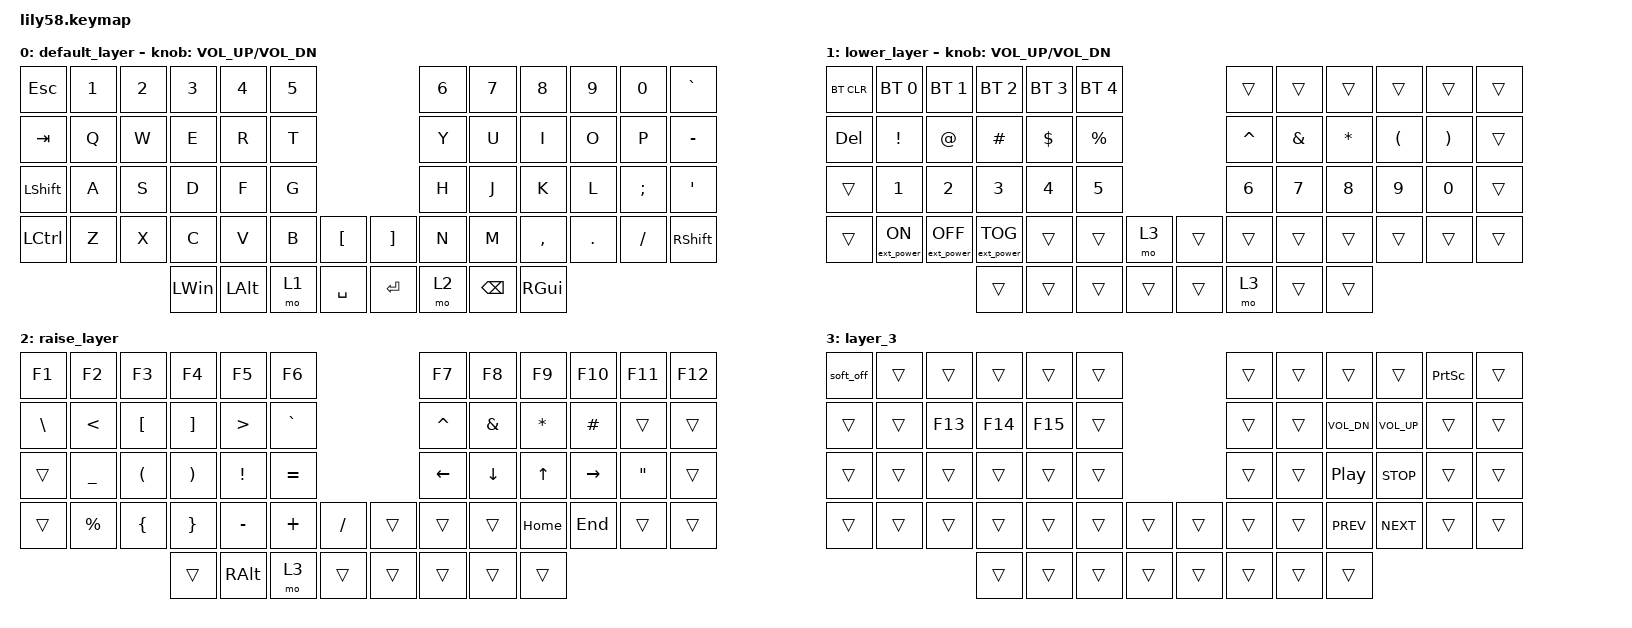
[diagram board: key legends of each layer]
/*
 * Copyright (c) 2020 The ZMK Contributors
 *
 * SPDX-License-Identifier: MIT
 */

#include <behaviors.dtsi>
#include <dt-bindings/zmk/bt.h>
#include <dt-bindings/zmk/ext_power.h>
#include <dt-bindings/zmk/keys.h>

/ {
    keymap {
        compatible = "zmk,keymap";

        default_layer {
            // ------------------------------------------------------------------------------------------------------------
            // |  ESC  |  1  |  2  |  3   |  4   |  5   |                   |  6   |  7    |  8    |  9   |   0   |   `   |
            // |  TAB  |  Q  |  W  |  E   |  R   |  T   |                   |  Y   |  U    |  I    |  O   |   P   |   -   |
            // |  CTRL |  A  |  S  |  D   |  F   |  G   |                   |  H   |  J    |  K    |  L   |   ;   |   '   |
            // | SHIFT |  Z  |  X  |  C   |  V   |  B   |   "["  |  |  "]"  |  N   |  M    |  ,    |  .   |   /   | SHIFT |
            //                     | ALT  | GUI  | LOWER|  SPACE |  | ENTER | RAISE| BSPC  | GUI   |

            bindings = <
&kp ESC     &kp N1  &kp N2  &kp N3    &kp N4    &kp N5                         &kp N6  &kp N7    &kp N8     &kp N9   &kp N0    &kp GRAVE
&kp TAB     &kp Q   &kp W   &kp E     &kp R     &kp T                          &kp Y   &kp U     &kp I      &kp O    &kp P     &kp MINUS
&kp LSHIFT  &kp A   &kp S   &kp D     &kp F     &kp G                          &kp H   &kp J     &kp K      &kp L    &kp SEMI  &kp SQT
&kp LCTRL   &kp Z   &kp X   &kp C     &kp V     &kp B   &kp LBKT     &kp RBKT  &kp N   &kp M     &kp COMMA  &kp DOT  &kp FSLH  &kp RSHFT
                            &kp LWIN  &kp LALT  &mo 1   &kp SPACE    &kp RET   &mo 2   &kp BSPC  &kp RGUI
            >;

            sensor-bindings = <&inc_dec_kp C_VOL_UP C_VOL_DN>;
        };

        lower_layer {
            // ------------------------------------------------------------------------------------------------------------
            // | BTCLR | BT1 | BT2 |  BT3 |  BT4 |  BT5 |                   |      |       |       |      |       |       |
            // |  F1   |  F2 |  F3 |  F4  |  F5  |  F6  |                   |  F7  |  F8   |  F9   |  F10 |  F11  |  F12  |
            // |   `   |  !  |  @  |  #   |  $   |  %   |                   |  ^   |  &    |  *    |  (   |   )   |   ~   |
            // |       |     |     |      |      |      |        |  |       |      |  _    |  +    |  {   |   }   |  "|"  |
            //                     |      |      |      |        |  |       |      |       |       |

            bindings = <
&bt BT_CLR  &bt BT_SEL 0      &bt BT_SEL 1       &bt BT_SEL 2       &bt BT_SEL 3  &bt BT_SEL 4                    &trans     &trans         &trans        &trans                &trans                 &trans
&kp DELETE  &kp EXCL          &kp AT             &kp HASH           &kp DOLLAR    &kp PERCENT                     &kp CARET  &kp AMPERSAND  &kp ASTERISK  &kp LEFT_PARENTHESIS  &kp RIGHT_PARENTHESIS  &trans
&trans      &kp NUMBER_1      &kp N2             &kp N3             &kp N4        &kp N5                          &kp N6     &kp N7         &kp N8        &kp N9                &kp N0                 &trans
&trans      &ext_power EP_ON  &ext_power EP_OFF  &ext_power EP_TOG  &trans        &trans        &mo 3     &trans  &trans     &trans         &trans        &trans                &trans                 &trans
                                                 &trans             &trans        &trans        &trans    &trans  &mo 3      &trans         &trans
            >;

            sensor-bindings = <&inc_dec_kp C_VOL_UP C_VOL_DN>;
        };

        raise_layer {
            // ------------------------------------------------------------------------------------------------------------
            // |       |     |     |      |      |      |                   |      |       |       |      |       |       |
            // |   `   |  1  |  2  |  3   |  4   |  5   |                   |  6   |   7   |   8   |  9   |   0   |       |
            // |   F1  |  F2 |  F3 |  F4  |  F5  |  F6  |                   |      |   <-  |   v   |  ^   |  ->   |       |
            // |   F7  |  F8 |  F9 |  F10 |  F11 |  F12 |        |  |       |  +   |   -   |   =   |  [   |   ]   |   \   |
            //                     |      |      |      |        |  |       |      |       |       |

            bindings = <
&kp F1         &kp F2          &kp F3                &kp F4                 &kp F5            &kp F6                          &kp F7     &kp F8    &kp F9        &kp F10    &kp F11            &kp F12
&kp BACKSLASH  &kp LESS_THAN   &kp LEFT_BRACKET      &kp RIGHT_BRACKET      &kp GREATER_THAN  &kp GRAVE                       &kp CARET  &kp AMPS  &kp ASTERISK  &kp HASH   &trans             &trans
&trans         &kp UNDERSCORE  &kp LEFT_PARENTHESIS  &kp RIGHT_PARENTHESIS  &kp EXCLAMATION   &kp EQUAL                       &kp LEFT   &kp DOWN  &kp UP        &kp RIGHT  &kp DOUBLE_QUOTES  &trans
&trans         &kp PERCENT     &kp LEFT_BRACE        &kp RIGHT_BRACE        &kp MINUS         &kp PLUS   &kp SLASH    &trans  &trans     &trans    &kp HOME      &kp END    &trans             &trans
                                                     &trans                 &kp RALT          &mo 3      &trans       &trans  &trans     &trans    &trans
            >;
        };

        layer_3 {
            bindings = <
&soft_off  &trans  &trans   &trans   &trans   &trans                    &trans  &trans  &trans            &trans           &kp PRINTSCREEN  &trans
&trans     &trans  &kp F13  &kp F14  &kp F15  &trans                    &trans  &trans  &kp C_VOL_DN      &kp C_VOLUME_UP  &trans           &trans
&trans     &trans  &trans   &trans   &trans   &trans                    &trans  &trans  &kp C_PLAY_PAUSE  &kp C_STOP       &trans           &trans
&trans     &trans  &trans   &trans   &trans   &trans  &trans    &trans  &trans  &trans  &kp C_PREV        &kp C_NEXT       &trans           &trans
                            &trans   &trans   &trans  &trans    &trans  &trans  &trans  &trans
            >;
        };
    };
};
